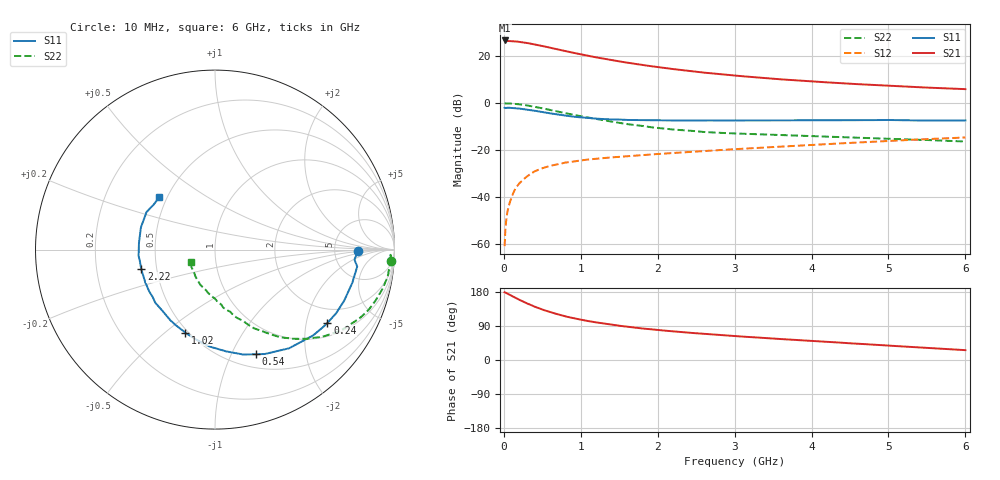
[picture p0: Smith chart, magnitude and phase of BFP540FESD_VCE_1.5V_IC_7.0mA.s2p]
! Infineon Technologies  Discrete & RF Semiconductors
! BFP540FESD
! VCE =  1.5 V,  IC =  7.0 mA
! Common Emitter S-Parameters:  Nov 2015
# GHz  S  MA  R  50
!  f  S11  S21  S12  S22
! GHz  MAG  ANG  MAG  ANG  MAG  ANG  MAG  ANG
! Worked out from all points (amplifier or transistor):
!   210 points, 10 MHz to 6 GHz, reference 50 ohm
!   highest |S21| = 26.6 dB at 10 MHz (marker M1)
!   |S21| within 3 dB of that: start of sweep to 588.6 MHz
!   unconditionally stable (mu >= 1): 2.428 GHz to end of sweep
!   at 185 MHz: K = 0.09, MSG = 30.5 dB, |S12| = -34.8 dB
!   at 1.52 GHz: K = 0.74, MSG = 20.2 dB, |S12| = -22.8 dB
!   at 6 GHz: K = 1.26, MAG = 7.2 dB, |S12| = -14.7 dB
!   S11 on the Smith chart (normalised r, x): 10 MHz: 8.76, -0.46; 240 MHz: 1.44, -2.67; 540 MHz: 0.65, -1.25; 1.02 GHz: 0.48, -0.59; 2.22 GHz: 0.41, -0.11; 6 GHz: 0.45, +0.32
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0.01  0.7955 -0.7  21.42 178.6  0.0009 86.6  0.9827 -3.7
0.02  0.7792 -4.1  20.64 178.0  0.002 94.6  0.9786 -1.7
0.05  0.798 -6.8  20.89 174.9  0.0052 88.9  0.9784 -4.5
0.15  0.7738 -21.7  20.55 164.4  0.0151 79.6  0.9583 -13.3
0.24  0.748 -33.1  19.62 155.3  0.0225 74.7  0.9218 -20.9
0.3  0.7262 -41.2  18.99 149.5  0.0273 69.9  0.8903 -25.6
0.4  0.6875 -53.1  17.7 140.8  0.0352 65.0  0.8345 -32.7
0.5  0.6445 -64.5  16.42 133.1  0.041 60.8  0.771 -39.0
0.54  0.6263 -68.5  15.83 130.5  0.0429 59.4  0.7468 -41.0
0.6  0.6052 -75.0  15.01 126.3  0.0459 57.5  0.7122 -44.2
0.8  0.5405 -93.4  12.74 115.1  0.054 51.9  0.6082 -53.4
0.9  0.5142 -101.1  11.73 110.5  0.0567 50.7  0.5634 -56.8
1.02  0.4912 -109.6  10.71 105.8  0.0606 49.0  0.5173 -60.7
1.2  0.466 -122.2  9.359 99.2  0.0649 46.9  0.4572 -66.2
1.44  0.446 -135.1  7.99 92.1  0.0704 45.3  0.393 -72.8
1.7  0.4345 -147.7  6.833 85.5  0.076 44.4  0.339 -79.7
2.02  0.426 -159.9  5.756 78.8  0.0827 43.8  0.2931 -86.9
2.22  0.425 -165.1  5.226 75.3  0.087 43.2  0.2712 -90.5
3.1  0.4253 174.9  3.714 61.8  0.1063 42.1  0.2224 -107.1
4.1  0.4304 161.8  2.813 49.2  0.1311 39.7  0.1944 -120.8
5.1  0.4322 149.8  2.292 36.8  0.1589 34.7  0.1702 -134.8
6  0.4263 136.9  1.973 26.0  0.1848 29.3  0.1517 -152.3
